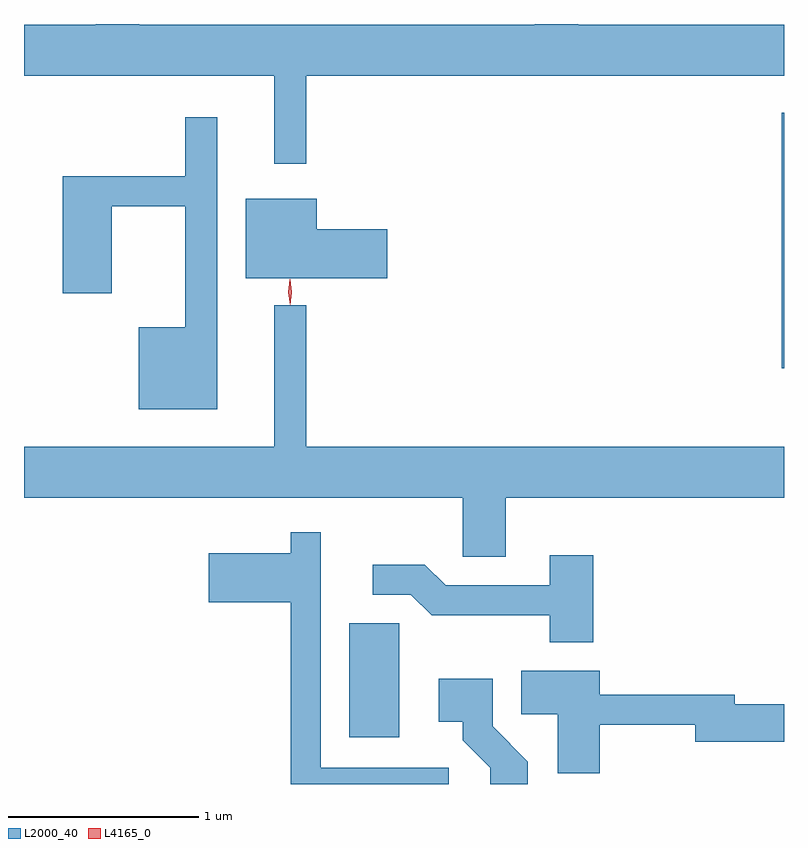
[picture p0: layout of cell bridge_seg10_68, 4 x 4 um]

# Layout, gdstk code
import gdstk
lib = gdstk.Library(unit=1e-6, precision=1e-09)
def R(c, l, rs):  # rectangles x0, y0, x1, y1
    for r in rs: c.add(gdstk.rectangle(r[:2], r[2:], *l))
def P(c, l, *ps):  # polygons
    for p in ps: c.add(gdstk.Polygon(p, *l))
L2000_40 = (2000, 40)
L4165_0 = (4165, 0)

bridge_seg10_68 = lib.new_cell('bridge_seg10_68')
R(bridge_seg10_68, L2000_40, [(1560.986,2197.016,1561.249,2197.614), (1563.261,2198.958,1563.273,2200.303)])
P(bridge_seg10_68, L2000_40, [(1560.759,2200.496),(1563.273,2200.496),(1563.273,2200.764),(1562.189,2200.764),(1562.189,2200.769),(1561.961,2200.769),(1561.961,2200.764),(1559.879,2200.764),(1559.879,2200.769),(1559.651,2200.769),(1559.651,2200.764),(1559.273,2200.764),(1559.273,2200.496),(1560.591,2200.496),(1560.591,2200.033),(1560.759,2200.033)],
  [(1560.289,2200.278),(1560.121,2200.278),(1560.121,2199.969),(1559.476,2199.969),(1559.476,2199.351),(1559.734,2199.351),(1559.734,2199.811),(1560.121,2199.811),(1560.121,2199.174),(1559.876,2199.174),(1559.876,2198.741),(1560.289,2198.741)],
  [(1561.184,2199.689),(1560.814,2199.689),(1560.814,2199.849),(1560.441,2199.849),(1560.441,2199.431),(1561.184,2199.431)],
  [(1561.809,2198.276),(1563.273,2198.276),(1563.273,2198.544),(1560.759,2198.544),(1560.759,2199.288),(1560.591,2199.288),(1560.591,2198.544),(1559.273,2198.544),(1559.273,2198.276),(1561.581,2198.276),(1561.581,2197.966),(1561.809,2197.966)],
  [(1561.508,2196.854),(1560.834,2196.854),(1560.834,2198.093),(1560.676,2198.093),(1560.676,2197.984),(1560.246,2197.984),(1560.246,2197.726),(1560.676,2197.726),(1560.676,2196.769),(1561.508,2196.769)],
  [(1562.269,2197.974),(1562.041,2197.974),(1562.041,2197.814),(1561.492,2197.814),(1561.382,2197.924),(1561.108,2197.924),(1561.108,2197.766),(1561.309,2197.766),(1561.419,2197.656),(1562.041,2197.656),(1562.041,2197.516),(1562.269,2197.516)],
  [(1562.304,2197.081),(1562.806,2197.081),(1562.806,2196.991),(1563.273,2196.991),(1563.273,2197.189),(1563.014,2197.189),(1563.014,2197.239),(1562.304,2197.239),(1562.304,2197.364),(1561.891,2197.364),(1561.891,2197.136),(1562.081,2197.136),(1562.081,2196.826),(1562.304,2196.826)],
  [(1561.924,2196.887),(1561.739,2197.072),(1561.739,2197.324),(1561.456,2197.324),(1561.456,2197.096),(1561.581,2197.096),(1561.581,2196.999),(1561.726,2196.854),(1561.726,2196.769),(1561.924,2196.769)])
P(bridge_seg10_68, L4165_0, [(1560.674,2199.293),(1560.673,2199.294),(1560.663,2199.356),(1560.672,2199.419),(1560.673,2199.42),(1560.674,2199.419),(1560.683,2199.356),(1560.674,2199.294)],
  [(1560.673,2199.29),(1560.663,2199.358),(1560.672,2199.425),(1560.672,2199.426),(1560.673,2199.425),(1560.683,2199.358),(1560.674,2199.29),(1560.674,2199.29)])

lib.write_gds('bridge_seg10_68.gds')
